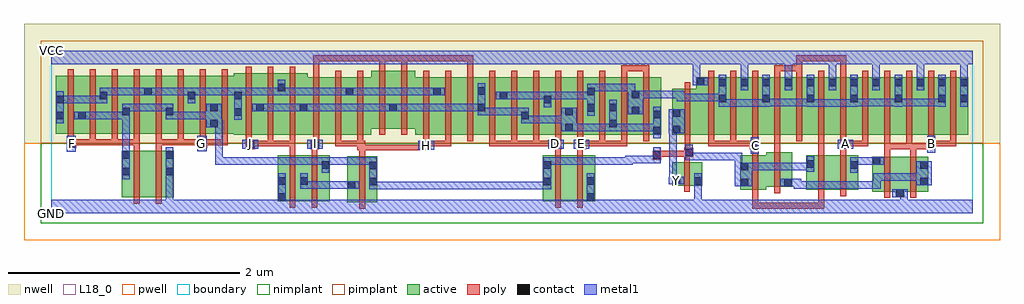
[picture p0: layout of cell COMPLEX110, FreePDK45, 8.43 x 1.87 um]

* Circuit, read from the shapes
.subckt COMPLEX110 A B C D E F G GND H I J VCC Y
M1 n1 F n2 VSUBS nfet w=0.4u l=0.05u
M2 GND G n1 VSUBS nfet w=0.4u l=0.05u
M3 n3 J GND VSUBS nfet w=0.4u l=0.05u
M4 n2 I n3 VSUBS nfet w=0.4u l=0.05u
M5 n2 H n3 VSUBS nfet w=0.4u l=0.05u
M6 n4 D n2 VSUBS nfet w=0.4u l=0.05u
M7 GND E n4 VSUBS nfet w=0.4u l=0.05u
M8 GND n2 Y VSUBS nfet w=0.2u l=0.05u
M9 n5 C n2 VSUBS nfet w=0.3u l=0.05u
M10 n6 A n5 VSUBS nfet w=0.3u l=0.05u
M11 n7 C n2 VSUBS nfet w=0.3u l=0.05u
M12 n8 A n7 VSUBS nfet w=0.3u l=0.05u
M13 GND B n8 VSUBS nfet w=0.3u l=0.05u
M14 n6 B GND VSUBS nfet w=0.3u l=0.05u
M15 n2 F n9 n10 pfet w=0.5u l=0.05u m=4
M16 n2 G n9 n10 pfet w=0.5u l=0.05u m=4
M17 n11 J n9 n10 pfet w=0.532u l=0.05u m=3
M18 n12 I n11 n10 pfet w=0.5u l=0.05u
M19 n9 H n12 n10 pfet w=0.5u l=0.05u
M20 n13 H n9 n10 pfet w=0.5u l=0.05u
M21 n11 I n13 n10 pfet w=0.5u l=0.05u
M22 n14 I n11 n10 pfet w=0.5u l=0.05u
M23 n9 H n14 n10 pfet w=0.5u l=0.05u
M24 n15 H n9 n10 pfet w=0.5u l=0.05u
M25 n11 I n15 n10 pfet w=0.5u l=0.05u
M26 n16 D n11 n10 pfet w=0.5u l=0.05u m=4
M27 n16 E n11 n10 pfet w=0.5u l=0.05u m=4
M28 VCC n2 Y n10 pfet w=0.4u l=0.05u
M29 n16 C VCC n10 pfet w=0.5u l=0.05u m=4
M30 VCC A n16 n10 pfet w=0.5u l=0.05u m=4
M31 n16 B VCC n10 pfet w=0.5u l=0.05u m=4
.ends

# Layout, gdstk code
import gdstk
lib = gdstk.Library(unit=1e-6, precision=1e-09)
def R(c, l, rs):  # rectangles x0, y0, x1, y1
    for r in rs: c.add(gdstk.rectangle(r[:2], r[2:], *l))
def A(c, l, x, y, w, h, nx, ny, dx, dy):  # array of equal rectangles
    R(c, l, [(x+i*dx, y+j*dy, x+i*dx+w, y+j*dy+h) for i in range(nx) for j in range(ny)])
active = (1, 0)
pwell = (2, 0)
nwell = (3, 0)
nimplant = (4, 0)
pimplant = (5, 0)
poly = (9, 0)
contact = (10, 0)
metal1 = (11, 0)
L18_0 = (18, 0)
boundary = (235, 0)

complex110 = lib.new_cell('COMPLEX110')
A(complex110, active, 5.95, 0.675, 0.26, 0.5, 3, 1, 0.76, 0)
R(complex110, active, [(2.557,0.092,2.817,0.492), (1.955,0.1,2.03,0.5), (1.955,0.1,2.22,0.5), (2.145,0.1,2.405,0.5), (4.247,0.1,4.472,0.5), (4.472,0.1,4.697,0.5), (4.622,0.1,4.697,0.5), (7.295,0.135,7.37,0.392), (0.61,0.137,0.835,0.537), (0.835,0.137,1.06,0.537), (0.61,0.147,0.715,0.537), (0.985,0.147,1.06,0.537), (2.145,0.147,2.22,0.492), (2.33,0.147,2.405,0.5), (2.557,0.147,2.632,0.492), (2.742,0.147,2.817,0.492), (4.247,0.147,4.352,0.5), (7.09,0.185,7.37,0.485), (7.295,0.185,7.575,0.485), (5.95,0.2,6.175,0.5), (6.52,0.2,6.745,0.5), (6.745,0.2,6.97,0.5), (5.95,0.207,6.025,0.5), (6.175,0.225,6.4,0.525), (6.325,0.225,6.4,0.525), (7.5,0.232,7.575,0.485), (5.362,0.237,5.437,0.437), (5.362,0.237,5.622,0.437), (5.547,0.237,5.622,0.437), (6.52,0.247,6.625,0.5), (6.895,0.247,6.97,0.5), (7.09,0.247,7.165,0.485), (1.575,0.675,1.84,1.207), (1.765,0.675,2.025,1.207), (1.95,0.675,2.215,1.207), (2.14,0.675,2.215,1.07), (2.14,0.675,2.385,1.175), (2.385,0.675,2.615,1.175), (2.54,0.675,2.765,1.175), (3.145,0.675,3.37,1.175), (3.295,0.675,3.37,1.157), (3.295,0.675,3.525,1.175), (3.525,0.675,3.755,1.175), (3.68,0.675,3.945,1.175), (3.68,0.675,3.755,1.167), (3.87,0.675,4.13,1.175), (3.87,0.675,3.945,1.167), (4.055,0.675,4.325,1.175), (4.055,0.675,4.13,1.07), (4.25,0.675,4.51,1.175), (4.435,0.675,4.7,1.175), (4.435,0.675,4.51,1.07), (4.625,0.675,4.89,1.175), (4.815,0.675,5.085,1.175), (5.01,0.675,5.27,1.175), (5.01,0.675,5.085,1.157), (5.195,0.675,5.27,1.07), (5.365,0.675,5.645,1.075), (5.365,0.675,5.44,1.067), (5.57,0.675,5.835,1.175), (5.76,0.675,5.835,1.175), (5.76,0.675,6.025,1.175), (6.135,0.675,6.405,1.175), (6.33,0.675,6.405,1.175), (6.33,0.675,6.595,1.175), (6.52,0.675,6.785,1.175), (6.895,0.675,6.97,1.175), (6.895,0.675,7.16,1.175), (7.085,0.675,7.16,1.175), (7.085,0.675,7.355,1.175), (7.28,0.675,7.355,1.175), (7.28,0.675,7.545,1.175), (7.47,0.675,7.545,1.175), (7.655,0.675,7.73,1.175), (7.655,0.675,7.92,1.175), (7.845,0.675,7.92,1.175), (2.54,0.682,2.615,1.157), (6.135,0.682,6.21,1.175), (6.52,0.682,6.595,1.167), (5.57,0.685,5.645,1.175), (0.04,0.687,0.305,1.187), (0.04,0.687,0.115,1.157), (0.23,0.687,0.49,1.187), (0.23,0.687,0.305,1.07), (0.415,0.687,0.685,1.187), (0.61,0.687,0.875,1.187), (0.61,0.687,0.685,1.07), (0.8,0.687,1.06,1.187), (0.985,0.687,1.25,1.187), (0.985,0.687,1.06,1.07), (1.175,0.687,1.445,1.187), (1.37,0.687,1.65,1.187), (1.37,0.687,1.445,1.07), (1.575,0.687,1.65,1.157), (6.71,0.715,6.785,1.175), (4.25,0.727,4.325,1.157), (2.765,0.73,2.99,1.23), (2.915,0.73,3.145,1.23), (2.915,0.73,2.99,1.07), (4.815,0.735,4.89,1.07), (5.95,0.747,6.025,1.167), (1.765,0.762,1.84,1.07), (1.95,0.762,2.025,1.19), (0.8,0.795,0.875,1.157), (1.175,0.795,1.25,1.157), (4.625,0.802,4.7,1.157), (0.415,0.807,0.49,1.157)])
R(complex110, pwell, [(-0.235,-0.235,8.195,0.602)])
R(complex110, nwell, [(-0.235,0.602,8.195,1.635)])
R(complex110, nimplant, [(-0.09,-0.09,8.05,0.602)])
R(complex110, pimplant, [(-0.09,0.602,8.05,1.49)])
A(complex110, poly, 1.68, 0.575, 0.05, 0.095, 3, 1, 0.19, 0)
A(complex110, poly, 2.265, 0.575, 0.05, 0.095, 3, 1, 0.19, 0)
A(complex110, poly, 3.785, 0.575, 0.05, 0.095, 7, 1, 0.19, 0)
A(complex110, poly, 5.675, 0.575, 0.05, 0.095, 4, 1, 0.19, 0)
A(complex110, poly, 0.145, 0.587, 0.05, 0.095, 8, 1, 0.19, 0)
A(complex110, poly, 1.68, 0.62, 0.05, 0.642, 3, 1, 0.19, 0)
A(complex110, poly, 2.265, 0.62, 0.05, 0.61, 3, 1, 0.19, 0)
A(complex110, poly, 3.215, 0.62, 0.05, 0.61, 11, 1, 0.19, 0)
A(complex110, poly, 5.675, 0.62, 0.05, 0.61, 12, 1, 0.19, 0)
A(complex110, poly, 0.145, 0.632, 0.05, 0.61, 8, 1, 0.19, 0)
R(complex110, poly, [(2.662,0.037,2.712,0.547), (6.055,0.037,6.105,0.087), (6.055,0.037,6.105,0.087), (6.055,0.037,6.105,0.087), (6.055,0.037,6.105,0.195), (6.055,0.037,6.242,0.087), (6.192,0.037,6.242,0.087), (6.192,0.037,6.242,0.087), (6.192,0.037,6.242,0.087), (6.192,0.037,6.427,0.087), (6.377,0.037,6.427,0.087), (6.377,0.037,6.675,0.087), (6.625,0.037,6.675,0.087), (6.625,0.037,6.675,0.087), (6.625,0.037,6.675,0.087), (6.625,0.037,6.675,0.195), (2.06,0.045,2.11,0.555), (2.25,0.045,2.3,0.555), (4.352,0.045,4.402,0.555), (4.542,0.045,4.592,0.555), (0.715,0.082,0.765,0.592), (0.905,0.082,0.955,0.592), (7.195,0.13,7.245,0.54), (7.42,0.13,7.47,0.54), (6.055,0.145,6.105,0.555), (6.625,0.145,6.675,0.555), (6.815,0.145,6.865,0.555), (6.245,0.17,6.295,0.58), (5.467,0.182,5.517,0.492), (5.467,0.442,5.517,0.537), (5.195,0.462,5.27,0.537), (5.22,0.487,5.27,0.537), (5.22,0.487,5.27,0.537), (5.22,0.487,5.517,0.537), (5.467,0.487,5.517,0.537), (5.467,0.487,5.517,0.537), (5.467,0.487,5.545,0.562), (7.195,0.49,7.245,0.6), (7.42,0.49,7.47,0.6), (2.662,0.497,2.712,0.592), (2.06,0.505,2.11,0.625), (2.25,0.505,2.3,0.6), (4.352,0.505,4.402,0.6), (4.542,0.505,4.592,0.6), (6.055,0.505,6.105,0.6), (6.625,0.505,6.675,0.6), (6.815,0.505,6.865,0.6), (5.47,0.512,5.52,0.67), (6.245,0.53,6.295,0.625), (0.715,0.542,0.765,0.637), (0.905,0.542,0.955,0.637), (2.645,0.542,2.712,0.625), (2.662,0.542,2.712,0.592), (2.662,0.542,2.712,0.592), (2.662,0.542,2.917,0.592), (2.867,0.542,2.917,0.592), (2.867,0.542,2.917,0.592), (2.867,0.542,2.917,0.592), (2.867,0.542,3.075,0.592), (3.025,0.542,3.075,0.592), (3.025,0.542,3.252,0.592), (3.202,0.542,3.252,0.6), (1.68,0.55,1.757,0.625), (2.242,0.55,2.317,0.625), (3.202,0.55,3.252,0.6), (3.202,0.55,3.277,0.625), (4.322,0.55,4.405,0.625), (4.542,0.55,4.617,0.625), (6.035,0.55,6.11,0.625), (6.625,0.55,6.675,0.6), (6.625,0.55,6.675,0.67), (6.815,0.55,6.897,0.625), (7.195,0.55,7.245,0.6), (7.195,0.55,7.245,0.67), (7.195,0.55,7.435,0.6), (7.385,0.55,7.435,0.6), (7.385,0.55,7.435,0.6), (7.385,0.55,7.435,0.67), (7.385,0.55,7.47,0.6), (7.42,0.55,7.612,0.6), (7.562,0.55,7.612,0.6), (7.562,0.55,7.612,0.6), (7.562,0.55,7.637,0.625), (0.142,0.562,0.217,0.637), (1.272,0.562,1.347,0.637), (1.707,0.575,1.757,0.625), (1.707,0.575,1.757,0.625), (1.707,0.575,1.92,0.625), (1.87,0.575,1.92,0.625), (1.87,0.575,2.11,0.625), (2.06,0.575,2.11,0.625), (2.06,0.575,2.11,0.625), (2.06,0.575,2.11,0.625), (2.455,0.575,2.505,0.625), (2.455,0.575,2.505,0.625), (2.455,0.575,2.505,0.625), (2.455,0.575,2.695,0.625), (3.215,0.575,3.265,0.67), (3.227,0.575,3.455,0.625), (3.405,0.575,3.455,0.67), (3.405,0.575,3.455,0.625), (3.405,0.575,3.455,0.625), (3.405,0.575,3.455,0.625), (3.785,0.575,3.835,0.625), (3.785,0.575,3.835,0.625), (3.785,0.575,3.835,0.625), (3.785,0.575,4.025,0.625), (3.975,0.575,4.025,0.625), (3.975,0.575,4.025,0.625), (3.975,0.575,4.025,0.625), (3.975,0.575,4.215,0.625), (4.165,0.575,4.215,0.625), (4.165,0.575,4.372,0.625), (4.322,0.575,4.372,0.625), (4.322,0.575,4.372,0.625), (4.567,0.575,4.617,0.625), (4.567,0.575,4.617,0.625), (4.567,0.575,4.785,0.625), (4.735,0.575,4.785,0.625), (4.735,0.575,4.785,0.625), (4.735,0.575,4.785,0.625), (4.735,0.575,4.975,0.625), (4.925,0.575,4.975,0.625), (5.675,0.575,5.725,0.625), (5.675,0.575,5.725,0.625), (5.675,0.575,5.725,0.625), (5.675,0.575,5.915,0.625), (5.865,0.575,5.915,0.625), (5.865,0.575,5.915,0.625), (5.865,0.575,5.915,0.625), (5.865,0.575,6.085,0.625), (6.245,0.575,6.295,0.625), (6.815,0.575,6.865,0.67), (6.847,0.575,7.055,0.625), (7.005,0.575,7.055,0.67), (7.005,0.575,7.055,0.625), (7.005,0.575,7.055,0.625), (7.005,0.575,7.055,0.625), (7.575,0.575,7.625,0.67), (7.587,0.575,7.815,0.625), (7.765,0.575,7.815,0.67), (7.765,0.575,7.815,0.625), (7.765,0.575,7.815,0.625), (7.765,0.575,7.815,0.625), (0.167,0.587,0.217,0.637), (0.167,0.587,0.217,0.637), (0.167,0.587,0.385,0.637), (0.335,0.587,0.385,0.637), (0.335,0.587,0.575,0.637), (0.525,0.587,0.575,0.637), (0.525,0.587,0.575,0.637), (0.525,0.587,0.575,0.637), (0.525,0.587,0.765,0.637), (0.715,0.587,0.765,0.637), (0.715,0.587,0.765,0.637), (0.715,0.587,0.765,0.637), (0.905,0.587,0.955,0.637), (0.905,0.587,0.955,0.637), (0.905,0.587,0.955,0.637), (0.905,0.587,1.145,0.637), (1.095,0.587,1.145,0.637), (1.095,0.587,1.145,0.637), (1.095,0.587,1.145,0.637), (1.095,0.587,1.322,0.637), (1.297,0.587,1.525,0.637), (1.475,0.587,1.525,0.637), (1.475,0.587,1.525,0.637), (1.475,0.587,1.525,0.637), (5.47,0.62,5.52,1.13), (2.835,0.675,2.885,1.285), (3.025,0.675,3.075,1.285), (2.265,1.18,2.315,1.362), (3.595,1.18,3.645,1.362), (4.925,1.18,4.975,1.275), (5.115,1.18,5.165,1.275), (6.245,1.18,6.295,1.275), (6.435,1.18,6.485,1.275), (6.815,1.18,6.865,1.362), (4.925,1.225,4.975,1.275), (4.925,1.225,4.975,1.275), (4.925,1.225,4.975,1.275), (4.925,1.225,5.165,1.275), (5.115,1.225,5.165,1.275), (6.245,1.225,6.295,1.275), (6.245,1.225,6.295,1.275), (6.245,1.225,6.295,1.275), (6.245,1.225,6.485,1.275), (6.435,1.225,6.485,1.362), (2.835,1.235,2.885,1.362), (3.025,1.235,3.075,1.362), (2.265,1.312,2.315,1.362), (2.265,1.312,2.315,1.362), (2.265,1.312,2.315,1.362), (2.265,1.312,2.562,1.362), (2.512,1.312,2.562,1.362), (2.512,1.312,2.562,1.362), (2.512,1.312,2.562,1.362), (2.512,1.312,2.715,1.362), (2.665,1.312,2.715,1.362), (2.665,1.312,2.715,1.362), (2.665,1.312,2.715,1.362), (2.665,1.312,2.885,1.362), (2.835,1.312,2.885,1.362), (2.835,1.312,2.885,1.362), (2.835,1.312,2.885,1.362), (2.835,1.312,3.075,1.362), (3.025,1.312,3.075,1.362), (3.025,1.312,3.075,1.362), (3.025,1.312,3.075,1.362), (3.025,1.312,3.207,1.362), (3.157,1.312,3.207,1.362), (3.157,1.312,3.475,1.362), (3.425,1.312,3.475,1.362), (3.425,1.312,3.475,1.362), (3.425,1.312,3.475,1.362), (3.425,1.312,3.645,1.362), (3.595,1.312,3.645,1.362), (3.595,1.312,3.645,1.362), (3.595,1.312,3.645,1.362), (6.435,1.312,6.732,1.362), (6.682,1.312,6.732,1.362), (6.682,1.312,6.732,1.362), (6.682,1.312,6.732,1.362), (6.682,1.312,6.865,1.362), (6.815,1.312,6.865,1.362), (6.815,1.312,6.865,1.362), (6.815,1.312,6.865,1.362)])
A(complex110, contact, 6.335, 1.095, 0.065, 0.065, 3, 1, 0.19, 0)
R(complex110, contact, [(1.96,0.105,2.025,0.17), (4.627,0.105,4.692,0.17), (7.3,0.14,7.365,0.205), (2.562,0.21,2.627,0.275), (5.955,0.23,6.02,0.295), (6.33,0.23,6.395,0.295), (2.747,0.24,2.812,0.305), (4.252,0.242,4.317,0.307), (7.505,0.242,7.57,0.307), (1.96,0.245,2.025,0.31), (2.15,0.245,2.215,0.31), (4.627,0.245,4.692,0.31), (5.552,0.245,5.617,0.31), (5.367,0.247,5.432,0.312), (0.615,0.327,0.68,0.392), (0.99,0.327,1.055,0.392), (5.955,0.37,6.02,0.435), (2.747,0.38,2.812,0.445), (2.335,0.382,2.4,0.447), (4.252,0.382,4.317,0.447), (6.9,0.382,6.965,0.447), (7.505,0.382,7.57,0.447), (6.525,0.392,6.59,0.457), (7.095,0.415,7.16,0.48), (0.615,0.467,0.68,0.532), (0.99,0.467,1.055,0.532), (5.2,0.467,5.265,0.532), (5.475,0.492,5.54,0.557), (1.687,0.555,1.752,0.62), (2.247,0.555,2.312,0.62), (3.207,0.555,3.272,0.62), (4.327,0.555,4.392,0.62), (4.547,0.555,4.612,0.62), (6.04,0.555,6.105,0.62), (6.827,0.555,6.892,0.62), (7.567,0.555,7.632,0.62), (0.147,0.567,0.212,0.632), (1.277,0.567,1.342,0.632), (5.2,0.68,5.265,0.745), (5.37,0.69,5.435,0.755), (4.44,0.705,4.505,0.77), (1.375,0.74,1.44,0.805), (4.82,0.74,4.885,0.805), (0.045,0.81,0.11,0.875), (0.235,0.81,0.3,0.875), (4.06,0.81,4.125,0.875), (5.2,0.82,5.265,0.885), (5.37,0.83,5.435,0.895), (1.58,0.842,1.645,0.907), (0.615,0.845,0.68,0.91), (0.99,0.845,1.055,0.91), (4.44,0.845,4.505,0.91), (5.015,0.852,5.08,0.917), (4.63,0.877,4.695,0.942), (1.375,0.88,1.44,0.945), (1.77,0.88,1.835,0.945), (2.145,0.88,2.21,0.945), (2.92,0.88,2.985,0.945), (3.685,0.88,3.75,0.945), (4.82,0.88,4.885,0.945), (4.255,0.947,4.32,1.012), (0.045,0.95,0.11,1.015), (5.765,0.955,5.83,1.02), (6.14,0.955,6.205,1.02), (6.525,0.955,6.59,1.02), (6.9,0.955,6.965,1.02), (7.285,0.955,7.35,1.02), (7.66,0.955,7.725,1.02), (7.85,0.955,7.915,1.02), (0.42,0.982,0.485,1.047), (1.18,0.982,1.245,1.047), (1.58,0.982,1.645,1.047), (3.875,0.982,3.94,1.047), (5.015,0.992,5.08,1.057), (0.805,1.017,0.87,1.082), (2.545,1.017,2.61,1.082), (3.3,1.017,3.365,1.082), (4.63,1.017,4.695,1.082), (3.685,1.02,3.75,1.085), (1.955,1.052,2.02,1.117), (5.765,1.095,5.83,1.16), (5.955,1.095,6.02,1.16), (6.14,1.095,6.205,1.16), (6.9,1.095,6.965,1.16), (7.09,1.095,7.155,1.16), (7.285,1.095,7.35,1.16), (7.475,1.095,7.54,1.16), (7.66,1.095,7.725,1.16), (7.85,1.095,7.915,1.16), (5.575,1.105,5.64,1.17)])
A(complex110, metal1, 5.955, 1.06, 0.065, 0.135, 3, 1, 0.38, 0)
A(complex110, metal1, 5.955, 1.13, 0.065, 0.22, 3, 1, 0.38, 0)
R(complex110, metal1, [(0,0,7.96,0.115), (0.99,0.05,1.055,0.357), (1.96,0.05,2.025,0.135), (4.627,0.05,4.692,0.135), (5.552,0.05,5.617,0.275), (7.335,0.05,7.4,0.202), (1.96,0.07,2.025,0.345), (4.627,0.07,4.692,0.345), (7.265,0.137,7.4,0.205), (7.335,0.137,7.4,0.202), (7.335,0.137,7.4,0.202), (2.747,0.205,2.812,0.48), (2.747,0.207,2.812,0.272), (2.747,0.207,2.812,0.272), (2.747,0.207,3.02,0.272), (2.955,0.207,3.02,0.272), (2.955,0.207,3.02,0.272), (2.955,0.207,3.02,0.272), (2.955,0.207,3.157,0.272), (3.092,0.207,3.157,0.272), (3.092,0.207,3.295,0.272), (3.23,0.207,3.295,0.272), (3.23,0.207,3.295,0.272), (3.23,0.207,3.295,0.272), (3.23,0.207,3.575,0.272), (3.51,0.207,3.575,0.272), (3.51,0.207,3.575,0.272), (3.51,0.207,3.575,0.272), (3.51,0.207,3.712,0.272), (3.647,0.207,3.712,0.272), (3.647,0.207,3.712,0.272), (3.647,0.207,3.712,0.272), (3.647,0.207,3.85,0.272), (3.785,0.207,3.85,0.272), (3.785,0.207,3.987,0.272), (3.922,0.207,3.987,0.272), (3.922,0.207,3.987,0.272), (3.922,0.207,3.987,0.272), (3.922,0.207,4.18,0.272), (4.115,0.207,4.18,0.272), (4.115,0.207,4.18,0.272), (4.115,0.207,4.18,0.272), (4.115,0.207,4.317,0.272), (4.252,0.207,4.317,0.482), (2.15,0.21,2.215,0.345), (2.15,0.21,2.382,0.275), (2.317,0.21,2.382,0.275), (2.317,0.21,2.382,0.275), (2.317,0.21,2.382,0.275), (2.317,0.21,2.537,0.275), (2.472,0.21,2.537,0.275), (2.472,0.21,2.592,0.275), (2.527,0.21,2.662,0.275), (5.552,0.21,5.617,0.275), (5.552,0.21,5.617,0.275), (5.552,0.21,5.617,0.275), (5.552,0.21,5.617,0.275), (5.552,0.21,5.617,0.345), (6.415,0.21,6.617,0.275), (6.415,0.21,6.48,0.295), (6.552,0.21,6.617,0.275), (6.552,0.21,6.617,0.275), (6.552,0.21,6.617,0.275), (6.552,0.21,6.755,0.275), (6.69,0.21,6.755,0.275), (6.69,0.21,6.892,0.275), (6.827,0.21,6.892,0.275), (6.827,0.21,6.892,0.275), (6.827,0.21,6.892,0.275), (6.827,0.21,7.165,0.275), (7.1,0.21,7.165,0.275), (7.1,0.21,7.165,0.275), (7.1,0.21,7.165,0.342), (5.902,0.23,6.055,0.435), (6.295,0.23,6.43,0.295), (6.365,0.23,6.48,0.295), (7.47,0.242,7.605,0.447), (5.332,0.247,5.467,0.312), (5.337,0.247,5.402,0.755), (7.1,0.277,7.302,0.342), (7.237,0.277,7.302,0.342), (7.237,0.277,7.302,0.342), (7.237,0.277,7.302,0.342), (7.237,0.277,7.487,0.342), (7.422,0.277,7.487,0.342), (7.422,0.277,7.535,0.342), (0.615,0.292,0.68,0.567), (0.99,0.292,1.055,0.567), (2.335,0.347,2.4,0.482), (6.9,0.347,6.965,0.482), (6.525,0.357,6.59,0.492), (5.902,0.37,5.967,0.522), (5.99,0.37,6.205,0.435), (6.14,0.37,6.205,0.435), (6.14,0.37,6.205,0.435), (6.14,0.37,6.205,0.435), (6.14,0.37,6.342,0.435), (6.277,0.37,6.342,0.435), (6.277,0.37,6.342,0.435), (6.277,0.37,6.342,0.435), (6.277,0.37,6.48,0.435), (6.415,0.37,6.48,0.435), (6.415,0.37,6.59,0.435), (2.335,0.415,2.537,0.48), (2.472,0.415,2.537,0.48), (2.472,0.415,2.537,0.48), (2.472,0.415,2.537,0.48), (2.472,0.415,2.675,0.48), (2.61,0.415,2.675,0.48), (2.61,0.415,2.812,0.48), (6.9,0.415,7.065,0.48), (7,0.415,7.065,0.48), (7,0.415,7.125,0.48), (7.06,0.415,7.195,0.48), (1.415,0.417,1.48,0.482), (1.415,0.417,1.48,0.482), (1.415,0.417,1.48,0.482), (1.415,0.417,1.48,0.482), (1.415,0.417,1.48,0.482), (1.415,0.417,1.662,0.482), (1.415,0.417,1.48,0.805), (1.597,0.417,1.662,0.482), (1.597,0.417,1.662,0.482), (1.597,0.417,1.662,0.482), (1.597,0.417,1.87,0.482), (1.805,0.417,1.87,0.482), (1.805,0.417,1.87,0.482), (1.805,0.417,1.87,0.482), (1.805,0.417,2.007,0.482), (1.942,0.417,2.007,0.482), (1.942,0.417,2.007,0.482), (1.942,0.417,2.007,0.482), (1.942,0.417,2.245,0.482), (2.18,0.417,2.245,0.482), (2.18,0.417,2.4,0.482), (2.335,0.417,2.4,0.482), (2.335,0.417,2.4,0.482), (4.252,0.417,4.317,0.482), (4.252,0.417,4.317,0.482), (4.252,0.417,4.54,0.482), (4.475,0.417,4.54,0.482), (4.475,0.417,4.54,0.482), (4.475,0.417,4.54,0.482), (4.475,0.417,4.677,0.482), (4.612,0.417,4.677,0.482), (4.612,0.417,4.677,0.482), (4.612,0.417,4.677,0.482), (4.612,0.417,4.885,0.482), (4.82,0.417,4.885,0.482), (4.82,0.417,4.885,0.482), (4.82,0.417,4.885,0.482), (4.82,0.417,5.022,0.482), (4.957,0.417,5.022,0.482), (4.957,0.417,5.022,0.497), (4.957,0.432,5.022,0.497), (4.957,0.432,5.265,0.497), (5.2,0.432,5.265,0.567), (5.475,0.457,5.54,0.592), (5.475,0.457,5.692,0.522), (5.627,0.457,5.692,0.522), (5.627,0.457,5.692,0.522), (5.627,0.457,5.692,0.522), (5.627,0.457,5.83,0.522), (5.765,0.457,5.83,0.522), (5.765,0.457,5.967,0.522), (5.902,0.457,5.967,0.522), (5.902,0.457,5.967,0.522), (5.902,0.457,5.967,0.522), (0.615,0.502,0.68,0.567), (0.615,0.502,0.68,0.567), (0.615,0.502,0.68,0.567), (0.615,0.502,0.68,0.567), (0.615,0.502,0.68,0.567), (0.615,0.502,0.68,0.567), (0.615,0.502,0.68,0.875), (6.04,0.51,6.112,0.655), (7.565,0.52,7.635,0.667), (0.135,0.53,0.212,0.667), (1.262,0.532,1.342,0.667), (3.172,0.547,3.307,0.625), (1.652,0.555,1.787,0.632), (2.212,0.555,2.347,0.632), (4.292,0.555,4.427,0.632), (4.512,0.555,4.647,0.632), (6.792,0.555,6.927,0.632), (5.2,0.645,5.265,0.92), (5.335,0.69,5.47,0.895), (5.337,0.69,5.402,0.755), (5.337,0.69,5.402,0.755), (5.337,0.69,5.402,0.755), (5.337,0.69,5.402,0.755), (4.405,0.705,4.54,0.91), (4.475,0.705,4.54,0.77), (4.475,0.705,4.54,0.77), (4.475,0.705,4.677,0.77), (4.612,0.705,4.677,0.77), (4.612,0.705,4.677,0.77), (4.612,0.705,4.677,0.77), (4.612,0.705,4.885,0.77), (4.82,0.705,4.885,0.77), (4.82,0.705,4.885,0.77), (4.82,0.705,4.885,0.98), (4.82,0.705,5.115,0.77), (5.05,0.705,5.115,0.77), (5.05,0.705,5.26,0.77), (5.195,0.705,5.26,0.77), (5.195,0.705,5.265,0.77), (1.34,0.74,1.475,0.945), (1.41,0.74,1.475,0.805), (1.41,0.74,1.48,0.805), (1.415,0.74,1.48,0.805), (1.415,0.74,1.48,0.805), (0.045,0.775,0.11,1.05), (4.06,0.775,4.125,0.84), (4.06,0.775,4.125,0.84), (4.06,0.775,4.125,0.91), (4.06,0.775,4.32,0.84), (4.255,0.775,4.32,0.84), (4.255,0.775,4.32,0.84), (4.255,0.775,4.32,0.84), (4.255,0.775,4.47,0.84), (1.58,0.807,1.645,1.082), (0.2,0.81,0.335,0.875), (0.27,0.81,0.335,0.875), (0.27,0.81,0.335,0.875), (0.27,0.81,0.472,0.875), (0.407,0.81,0.472,0.875), (0.407,0.81,0.472,0.875), (0.407,0.81,0.472,0.875), (0.407,0.81,0.68,0.875), (0.615,0.81,0.68,0.945), (0.99,0.81,1.055,0.875), (0.99,0.81,1.055,0.875), (0.99,0.81,1.055,0.945), (0.99,0.81,1.192,0.875), (1.127,0.81,1.192,0.875), (1.127,0.81,1.192,0.875), (1.127,0.81,1.192,0.875), (1.127,0.81,1.405,0.875), (4.63,0.842,4.695,1.117), (3.685,0.845,3.75,1.12), (3.685,0.845,3.85,0.91), (3.785,0.845,3.85,0.91), (3.785,0.845,3.987,0.91), (3.922,0.845,3.987,0.91), (3.922,0.845,3.987,0.91), (3.922,0.845,3.987,0.91), (3.922,0.845,4.125,0.91), (4.98,0.852,5.115,1.057), (0.615,0.88,0.68,0.945), (0.615,0.88,0.68,0.945), (0.615,0.88,0.835,0.945), (0.77,0.88,0.835,0.945), (0.77,0.88,0.835,0.945), (0.77,0.88,0.835,0.945), (0.77,0.88,1.055,0.945), (1.735,0.88,1.87,0.945), (1.805,0.88,1.87,0.945), (1.805,0.88,1.87,0.945), (1.805,0.88,2.007,0.945), (1.942,0.88,2.007,0.945), (1.942,0.88,2.007,0.945), (1.942,0.88,2.007,0.945), (1.942,0.88,2.175,0.945), (2.11,0.88,2.245,0.945), (2.18,0.88,2.245,0.945), (2.18,0.88,2.245,0.945), (2.18,0.88,2.382,0.945), (2.317,0.88,2.382,0.945), (2.317,0.88,2.537,0.945), (2.472,0.88,2.537,0.945), (2.472,0.88,2.675,0.945), (2.61,0.88,2.675,0.945), (2.61,0.88,2.675,0.945), (2.61,0.88,2.675,0.945), (2.61,0.88,2.812,0.945), (2.747,0.88,2.812,0.945), (2.747,0.88,2.812,0.945), (2.747,0.88,2.812,0.945), (2.747,0.88,2.95,0.945), (2.885,0.88,3.02,0.945), (2.955,0.88,3.02,0.945), (2.955,0.88,3.02,0.945), (2.955,0.88,3.157,0.945), (3.092,0.88,3.157,0.945), (3.092,0.88,3.295,0.945), (3.23,0.88,3.295,0.945), (3.23,0.88,3.295,0.945), (3.23,0.88,3.295,0.945), (3.23,0.88,3.467,0.945), (3.402,0.88,3.467,0.945), (3.402,0.88,3.467,0.945), (3.402,0.88,3.467,0.945), (3.402,0.88,3.712,0.945), (3.647,0.88,3.712,0.945), (3.647,0.88,3.75,0.945), (4.255,0.912,4.32,1.047), (5.765,0.92,5.83,0.985), (5.765,0.92,5.83,0.985), (5.765,0.92,5.83,1.195), (5.765,0.92,5.967,0.985), (5.902,0.92,5.967,0.985), (5.902,0.92,6.205,0.985), (6.14,0.92,6.205,0.985), (6.14,0.92,6.205,0.985), (6.14,0.92,6.205,1.195), (6.525,0.92,6.59,1.195), (6.525,0.92,6.617,0.985), (6.552,0.92,6.617,0.985), (6.552,0.92,6.755,0.985), (6.69,0.92,6.755,0.985), (6.69,0.92,6.755,0.985), (6.69,0.92,6.755,0.985), (6.69,0.92,6.965,0.985), (6.9,0.92,6.965,1.195), (7.285,0.92,7.35,1.195), (7.66,0.92,7.725,1.195), (7.85,0.92,7.915,1.195), (6.14,0.922,6.342,0.987), (6.277,0.922,6.342,0.987), (6.277,0.922,6.342,0.987), (6.277,0.922,6.342,0.987), (6.277,0.922,6.48,0.987), (6.415,0.922,6.48,0.987), (6.415,0.922,6.59,0.987), (6.9,0.922,7.165,0.987), (7.1,0.922,7.165,0.987), (7.1,0.922,7.165,0.987), (7.1,0.922,7.165,0.987), (7.1,0.922,7.35,0.987), (7.285,0.922,7.35,0.987), (7.285,0.922,7.35,0.987), (7.285,0.922,7.487,0.987), (7.422,0.922,7.487,0.987), (7.422,0.922,7.487,0.987), (7.422,0.922,7.487,0.987), (7.422,0.922,7.725,0.987), (7.66,0.922,7.725,0.987), (7.66,0.922,7.725,0.987), (0.045,0.947,0.11,1.012), (0.045,0.947,0.11,1.012), (0.045,0.947,0.335,1.012), (0.27,0.947,0.335,1.012), (0.27,0.947,0.335,1.012), (0.27,0.947,0.335,1.012), (0.27,0.947,0.485,1.012), (0.42,0.947,0.485,1.082), (1.18,0.947,1.245,1.082), (5.402,0.967,5.467,1.032), (5.402,0.967,5.467,1.032), (5.402,0.967,5.692,1.032), (5.402,0.967,5.467,1.057), (5.627,0.967,5.692,1.032), (5.627,0.967,5.692,1.032), (5.627,0.967,5.692,1.032), (5.627,0.967,5.83,1.032), (3.84,0.982,3.975,1.047), (3.91,0.982,3.987,1.047), (3.922,0.982,3.987,1.047), (3.922,0.982,4.18,1.047), (4.115,0.982,4.18,1.047), (4.115,0.982,4.18,1.047), (4.115,0.982,4.18,1.047), (4.115,0.982,4.32,1.047), (4.255,0.982,4.32,1.047), (4.255,0.982,4.32,1.047), (4.255,0.982,4.457,1.047), (4.392,0.982,4.457,1.047), (4.392,0.982,4.457,1.047), (4.392,0.982,4.457,1.047), (4.392,0.982,4.695,1.047), (4.98,0.992,5.045,1.057), (4.98,0.992,5.045,1.117), (5.05,0.992,5.252,1.057), (5.187,0.992,5.252,1.057), (5.187,0.992,5.252,1.057), (5.187,0.992,5.252,1.057), (5.187,0.992,5.252,1.057), (5.187,0.992,5.252,1.057), (5.187,0.992,5.467,1.057), (0.42,1.017,0.485,1.082), (0.42,1.017,0.485,1.082), (0.42,1.017,0.697,1.082), (0.632,1.017,0.697,1.082), (0.632,1.017,0.697,1.082), (0.632,1.017,0.697,1.082), (0.632,1.017,0.835,1.082), (0.77,1.017,0.905,1.082), (0.84,1.017,0.905,1.082), (0.84,1.017,0.905,1.082), (0.84,1.017,1.055,1.082), (0.99,1.017,1.055,1.082), (0.99,1.017,1.055,1.082), (0.99,1.017,1.055,1.082), (0.99,1.017,1.245,1.082), (1.18,1.017,1.245,1.082), (1.18,1.017,1.245,1.082), (1.18,1.017,1.507,1.082), (1.442,1.017,1.507,1.082), (1.442,1.017,1.507,1.082), (1.442,1.017,1.507,1.082), (1.442,1.017,1.645,1.082), (1.58,1.017,1.645,1.082), (1.58,1.017,1.645,1.082), (1.58,1.017,1.87,1.082), (1.805,1.017,1.87,1.082), (1.805,1.017,1.87,1.082), (1.805,1.017,1.87,1.082), (1.805,1.017,2.02,1.082), (1.955,1.017,2.02,1.082), (1.955,1.017,2.02,1.082), (1.955,1.017,2.02,1.152), (1.955,1.017,2.245,1.082), (2.18,1.017,2.245,1.082), (2.18,1.017,2.4,1.082), (2.335,1.017,2.4,1.082), (2.335,1.017,2.4,1.082), (2.335,1.017,2.4,1.082), (2.335,1.017,2.537,1.082), (2.472,1.017,2.537,1.082), (2.472,1.017,2.575,1.082), (2.51,1.017,2.645,1.082), (2.58,1.017,2.675,1.082), (2.61,1.017,2.675,1.082), (2.61,1.017,2.812,1.082), (2.747,1.017,2.812,1.082), (2.747,1.017,2.812,1.082), (2.747,1.017,2.812,1.082), (2.747,1.017,2.95,1.082), (2.885,1.017,2.95,1.082), (2.885,1.017,2.95,1.082), (2.885,1.017,2.95,1.082), (2.885,1.017,3.157,1.082), (3.092,1.017,3.157,1.082), (3.092,1.017,3.33,1.082), (3.265,1.017,3.33,1.082), (3.265,1.017,3.33,1.082), (3.265,1.017,3.4,1.082), (4.63,1.052,4.695,1.117), (4.63,1.052,4.695,1.117), (4.63,1.052,4.832,1.117), (4.767,1.052,4.832,1.117), (4.767,1.052,5.045,1.117), (7.09,1.06,7.155,1.195), (7.475,1.06,7.54,1.195), (5.54,1.105,5.605,1.17), (5.54,1.105,5.605,1.17), (5.54,1.105,5.675,1.17), (5.54,1.105,5.605,1.35), (6.335,1.13,6.4,1.195), (6.335,1.13,6.4,1.195), (6.715,1.13,6.78,1.195), (6.715,1.13,6.78,1.195), (7.09,1.13,7.155,1.35), (7.475,1.13,7.54,1.195), (7.475,1.13,7.54,1.195), (7.475,1.13,7.54,1.35), (7.85,1.13,7.915,1.195), (7.85,1.13,7.915,1.195), (7.85,1.13,7.915,1.35), (0,1.285,7.96,1.4), (5.955,1.285,6.02,1.35), (5.955,1.285,6.02,1.35), (7.09,1.285,7.155,1.35), (7.09,1.285,7.155,1.35)])
A(complex110, L18_0, 5.955, 1.06, 0.065, 0.135, 3, 1, 0.38, 0)
A(complex110, L18_0, 5.955, 1.13, 0.065, 0.22, 3, 1, 0.38, 0)
R(complex110, L18_0, [(0,0,7.96,0.115), (0.99,0.05,1.055,0.357), (1.96,0.05,2.025,0.135), (4.627,0.05,4.692,0.135), (5.552,0.05,5.617,0.275), (7.335,0.05,7.4,0.202), (1.96,0.07,2.025,0.345), (4.627,0.07,4.692,0.345), (7.265,0.137,7.4,0.205), (7.335,0.137,7.4,0.202), (7.335,0.137,7.4,0.202), (5.552,0.21,5.617,0.275), (5.552,0.21,5.617,0.275), (5.552,0.21,5.617,0.275), (5.552,0.21,5.617,0.275), (5.552,0.21,5.617,0.345), (5.332,0.247,5.467,0.312), (5.337,0.247,5.402,0.755), (5.367,0.247,5.432,0.312), (0.99,0.292,1.055,0.567), (6.04,0.51,6.112,0.655), (7.565,0.52,7.635,0.667), (0.135,0.53,0.212,0.667), (1.262,0.532,1.342,0.667), (3.172,0.547,3.307,0.625), (3.207,0.547,3.272,0.612), (6.047,0.547,6.112,0.612), (1.652,0.555,1.787,0.632), (2.212,0.555,2.347,0.632), (4.292,0.555,4.427,0.632), (4.512,0.555,4.647,0.632), (6.792,0.555,6.927,0.632), (0.147,0.567,0.212,0.632), (1.267,0.567,1.332,0.632), (1.687,0.567,1.752,0.632), (2.247,0.567,2.312,0.632), (4.327,0.567,4.392,0.632), (4.547,0.567,4.612,0.632), (6.827,0.567,6.892,0.632), (7.567,0.567,7.632,0.632), (5.335,0.69,5.47,0.895), (5.337,0.69,5.402,0.755), (5.337,0.69,5.402,0.755), (5.337,0.69,5.402,0.755), (5.337,0.69,5.402,0.755), (7.85,0.92,7.915,1.195), (7.09,1.06,7.155,1.195), (7.475,1.06,7.54,1.195), (5.54,1.105,5.675,1.17), (5.54,1.105,5.605,1.17), (5.54,1.105,5.605,1.17), (5.54,1.105,5.605,1.35), (6.335,1.13,6.4,1.195), (6.335,1.13,6.4,1.195), (6.715,1.13,6.78,1.195), (6.715,1.13,6.78,1.195), (7.09,1.13,7.155,1.35), (7.475,1.13,7.54,1.195), (7.475,1.13,7.54,1.195), (7.475,1.13,7.54,1.35), (7.85,1.13,7.915,1.195), (7.85,1.13,7.915,1.195), (7.85,1.13,7.915,1.35), (0,1.285,7.96,1.4), (5.955,1.285,6.02,1.35), (5.955,1.285,6.02,1.35), (7.09,1.285,7.155,1.35), (7.09,1.285,7.155,1.35)])
R(complex110, boundary, [(0,0,7.96,1.4)])
complex110.add(gdstk.Label('A', (6.86,0.6), layer=11, texttype=0))
complex110.add(gdstk.Label('B', (7.6,0.6), layer=11, texttype=0))
complex110.add(gdstk.Label('C', (6.08,0.58), layer=11, texttype=0))
complex110.add(gdstk.Label('D', (4.36,0.6), layer=11, texttype=0))
complex110.add(gdstk.Label('E', (4.58,0.6), layer=11, texttype=0))
complex110.add(gdstk.Label('F', (0.18,0.6), layer=11, texttype=0))
complex110.add(gdstk.Label('G', (1.3,0.6), layer=11, texttype=0))
complex110.add(gdstk.Label('H', (3.24,0.58), layer=11, texttype=0))
complex110.add(gdstk.Label('I', (2.28,0.6), layer=11, texttype=0))
complex110.add(gdstk.Label('J', (1.72,0.6), layer=11, texttype=0))
complex110.add(gdstk.Label('Y', (5.4,0.28), layer=11, texttype=0))
complex110.add(gdstk.Label('VCC', (0,1.4), layer=11, texttype=0))
complex110.add(gdstk.Label('GND', (0,0), layer=11, texttype=0))

lib.write_gds('COMPLEX110.gds')
